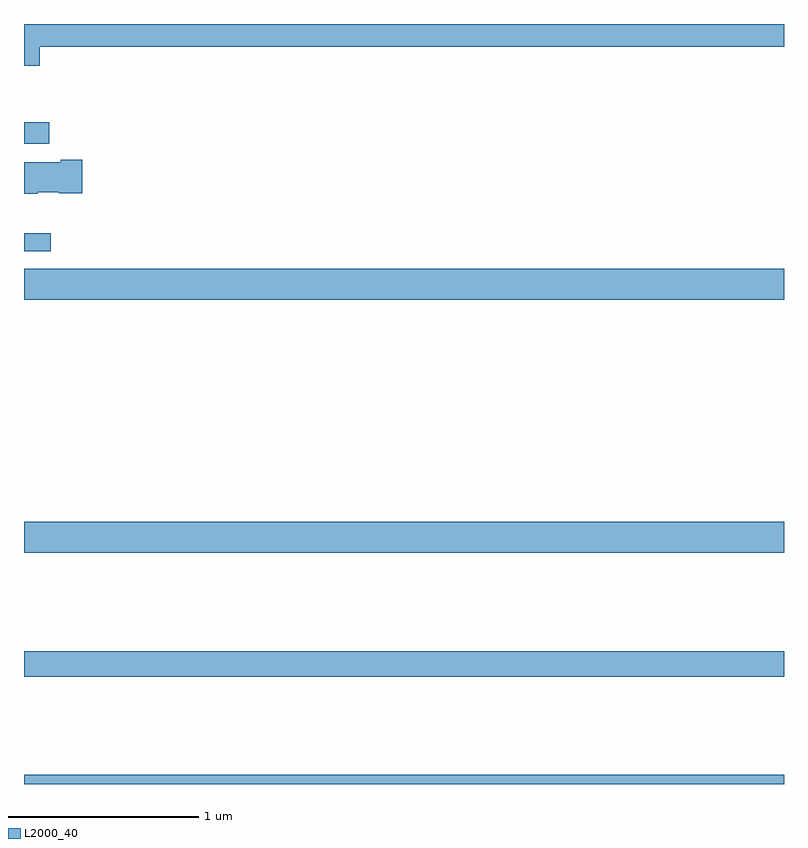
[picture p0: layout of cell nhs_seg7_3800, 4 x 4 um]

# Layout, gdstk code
import gdstk
lib = gdstk.Library(unit=1e-6, precision=1e-09)
def R(c, l, rs):  # rectangles x0, y0, x1, y1
    for r in rs: c.add(gdstk.rectangle(r[:2], r[2:], *l))
def P(c, l, *ps):  # polygons
    for p in ps: c.add(gdstk.Polygon(p, *l))
L2000_40 = (2000, 40)

nhs_seg7_3800 = lib.new_cell('nhs_seg7_3800')
R(nhs_seg7_3800, L2000_40, [(351,1066,355,1066.048), (351,1066.564,355,1066.7), (351,1067.216,355,1067.38), (351,1068.548,355,1068.712), (351,1068.804,351.142,1068.9), (351,1069.37,351.133,1069.484)])
P(nhs_seg7_3800, L2000_40, [(351.083,1069.88),(355,1069.88),(355,1070),(351,1070),(351,1069.781),(351.083,1069.781)],
  [(351.072,1069.115),(351.183,1069.115),(351.183,1069.108),(351.307,1069.108),(351.307,1069.286),(351.194,1069.286),(351.194,1069.272),(351,1069.272),(351,1069.107),(351.072,1069.107)])

lib.write_gds('nhs_seg7_3800.gds')
